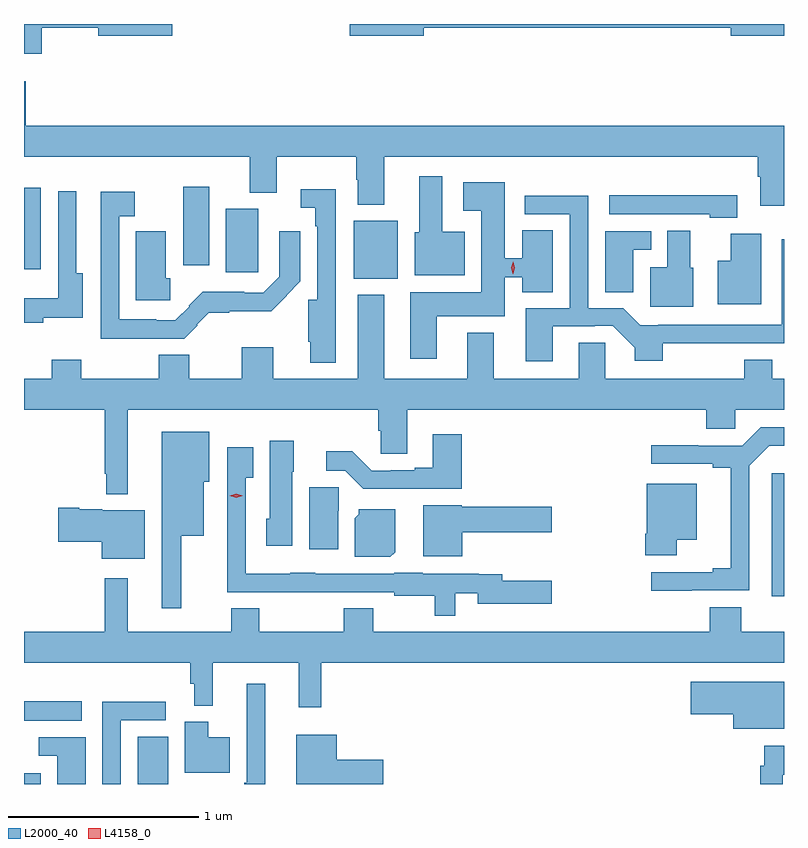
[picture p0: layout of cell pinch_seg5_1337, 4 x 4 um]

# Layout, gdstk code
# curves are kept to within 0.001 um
import gdstk
lib = gdstk.Library(unit=1e-6, precision=1e-09)
def R(c, l, rs):  # rectangles x0, y0, x1, y1
    for r in rs: c.add(gdstk.rectangle(r[:2], r[2:], *l))
def P(c, l, *ps):  # polygons
    for p in ps: c.add(gdstk.Polygon(p, *l))
L2000_40 = (2000, 40)
L4158_0 = (4158, 0)

pinch_seg5_1337 = lib.new_cell('pinch_seg5_1337')
R(pinch_seg5_1337, L2000_40, [(262.189,885.427,262.276,885.484), (262.787,885.427,262.948,885.677), (262.189,885.761,262.492,885.862), (266.124,886.416,266.189,887.063), (263.924,888.086,264.157,888.391), (263.252,888.12,263.422,888.454), (262.189,888.135,262.276,888.565), (263.027,888.156,263.164,888.571)])
P(pinch_seg5_1337, L2000_40, [(262.282,889.408),(262.58,889.408),(262.58,889.366),(262.969,889.366),(262.969,889.427),(262.189,889.427),(262.189,889.271),(262.282,889.271)],
  [(264.292,889.408),(265.91,889.408),(265.91,889.366),(266.189,889.366),(266.189,889.427),(263.904,889.427),(263.904,889.366),(264.292,889.366)],
  [(266.189,888.892),(262.199,888.892),(262.199,889.126),(262.189,889.126),(262.189,888.728),(263.378,888.728),(263.378,888.539),(263.518,888.539),(263.518,888.728),(263.938,888.728),(263.938,888.608),(263.945,888.608),(263.945,888.476),(264.085,888.476),(264.085,888.728),(266.051,888.728),(266.051,888.622),(266.063,888.622),(266.063,888.471),(266.189,888.471)],
  [(264.508,888.334),(264.391,888.334),(264.391,888.625),(264.269,888.625),(264.269,888.33),(264.245,888.33),(264.245,888.104),(264.508,888.104)],
  [(264.361,887.888),(264.718,887.888),(264.718,888.095),(264.812,888.095),(264.812,888.016),(264.973,888.016),(264.973,888.341),(264.812,888.341),(264.812,888.195),(264.718,888.195),(264.718,888.595),(264.501,888.595),(264.501,888.443),(264.596,888.443),(264.596,888.016),(264.221,888.016),(264.221,887.664),(264.361,887.664)],
  [(263.83,887.873),(263.829,887.873),(263.829,888.556),(263.646,888.556),(263.646,888.459),(263.721,888.459),(263.721,888.362),(263.733,888.362),(263.733,887.976),(263.684,887.976),(263.684,887.755),(263.696,887.755),(263.696,887.645),(263.83,887.645)],
  [(262.29,887.882),(262.498,887.882),(262.498,888.115),(262.464,888.115),(262.464,888.547),(262.368,888.547),(262.368,887.983),(262.189,887.983),(262.189,887.854),(262.29,887.854)],
  [(263.103,887.841),(263.099,887.845),(263.161,887.907),(263.269,887.907),(263.269,887.915),(263.489,887.915),(263.644,888.072),(263.644,888.337),(263.532,888.337),(263.532,888.096),(263.448,888.012),(263.348,888.012),(263.348,888.017),(263.129,888.017),(263.055,887.943),(263.058,887.94),(262.986,887.868),(262.886,887.868),(262.886,887.872),(262.689,887.872),(262.689,888.416),(262.772,888.416),(262.772,888.544),(262.593,888.544),(262.593,887.771),(263.033,887.771)],
  [(265.942,888.526),(265.269,888.526),(265.269,888.425),(265.797,888.425),(265.797,888.407),(265.942,888.407)],
  [(264.973,887.835),(265.193,887.835),(265.193,887.838),(265.287,887.838),(265.403,887.722),(265.403,887.654),(265.551,887.654),(265.551,887.747),(266.189,887.748),(266.189,888.295),(266.178,888.295),(266.177,887.844),(265.528,887.844),(265.528,887.841),(265.432,887.841),(265.342,887.931),(265.158,887.931),(265.158,888.524),(264.825,888.524),(264.825,888.426),(265.062,888.426),(265.062,887.931),(264.83,887.931),(264.83,887.652),(264.973,887.652)],
  [(265.711,888.144),(265.696,888.144),(265.696,888.34),(265.574,888.34),(265.574,888.148),(265.484,888.148),(265.484,887.939),(265.711,887.939)],
  [(265.396,888.24),(265.489,888.24),(265.489,888.336),(265.247,888.336),(265.247,888.016),(265.396,888.016)],
  [(262.959,888.09),(262.936,888.09),(262.936,888.335),(262.778,888.335),(262.778,887.973),(262.959,887.973)],
  [(266.068,888.322),(265.91,888.322),(265.91,888.181),(265.841,888.181),(265.841,887.951),(266.068,887.951)],
  [(265.981,887.659),(265.981,887.56),(265.248,887.56),(265.248,887.75),(265.109,887.75),(265.109,887.56),(264.661,887.56),(264.661,887.803),(264.521,887.803),(264.521,887.56),(264.085,887.56),(264.085,888.001),(263.945,888.001),(263.945,887.56),(263.5,887.56),(263.5,887.725),(263.336,887.725),(263.336,887.56),(263.059,887.56),(263.059,887.686),(262.898,887.686),(262.898,887.56),(262.491,887.56),(262.491,887.659),(262.336,887.659),(262.336,887.56),(262.189,887.56),(262.189,887.396),(262.614,887.396),(262.614,887.059),(262.621,887.059),(262.621,886.952),(262.735,886.952),(262.735,887.396),(264.053,887.396),(264.053,887.286),(264.066,887.286),(264.066,887.164),(264.205,887.164),(264.205,887.396),(265.781,887.396),(265.781,887.298),(265.932,887.298),(265.932,887.396),(266.189,887.396),(266.189,887.56),(266.128,887.56),(266.128,887.659)],
  [(265.703,886.446),(266.007,886.446),(266.007,887.103),(266.111,887.207),(266.189,887.207),(266.189,887.304),(266.066,887.304),(265.97,887.208),(265.737,887.208),(265.737,887.21),(265.491,887.21),(265.491,887.112),(265.814,887.112),(265.814,887.092),(265.91,887.092),(265.91,886.562),(265.814,886.562),(265.814,886.542),(265.491,886.542),(265.491,886.445)],
  [(263.017,886.733),(263.134,886.733),(263.134,887.018),(263.164,887.018),(263.164,887.281),(262.913,887.281),(262.913,886.353),(263.017,886.353)],
  [(264.494,887.269),(264.341,887.269),(264.341,887.092),(264.245,887.092),(264.245,887.079),(264.118,887.079),(264.118,887.076),(264.018,887.076),(263.916,887.179),(263.781,887.179),(263.781,887.076),(263.88,887.076),(263.974,886.982),(264.494,886.982)],
  [(263.602,887.07),(263.608,887.07),(263.608,887.233),(263.483,887.233),(263.483,886.824),(263.465,886.824),(263.465,886.68),(263.602,886.68)],
  [(264.459,886.43),(264.578,886.43),(264.578,886.376),(264.967,886.376),(264.967,886.498),(264.706,886.498),(264.706,886.53),(264.582,886.53),(264.582,886.534),(264.288,886.534),(264.288,886.54),(264.138,886.54),(264.138,886.533),(263.721,886.533),(263.721,886.54),(263.589,886.54),(263.589,886.534),(263.355,886.534),(263.355,887.039),(263.395,887.039),(263.395,887.2),(263.259,887.2),(263.259,886.437),(263.489,886.437),(263.489,886.436),(263.721,886.436),(263.721,886.437),(264.138,886.437),(264.138,886.418),(264.351,886.418),(264.351,886.313),(264.459,886.313)],
  [(265.624,886.712),(265.729,886.712),(265.729,887.008),(265.466,887.008),(265.466,886.744),(265.459,886.744),(265.459,886.632),(265.624,886.632)],
  [(263.842,886.866),(263.846,886.866),(263.846,886.989),(263.69,886.989),(263.69,886.662),(263.842,886.662)],
  [(264.496,886.751),(264.967,886.751),(264.967,886.886),(264.492,886.886),(264.492,886.894),(264.29,886.894),(264.29,886.625),(264.496,886.625)],
  [(262.825,886.867),(262.602,886.867),(262.602,886.873),(262.48,886.873),(262.48,886.88),(262.368,886.88),(262.368,886.702),(262.598,886.702),(262.598,886.613),(262.825,886.613)],
  [(264.142,886.648),(264.142,886.873),(263.952,886.873),(263.952,886.848),(263.93,886.826),(263.93,886.622),(264.116,886.622)],
  [(263.753,886.064),(266.189,886.064),(266.189,886.228),(265.963,886.228),(265.963,886.357),(265.799,886.357),(265.799,886.228),(264.027,886.228),(264.027,886.352),(263.872,886.352),(263.872,886.228),(263.427,886.228),(263.427,886.352),(263.279,886.352),(263.279,886.228),(262.735,886.228),(262.735,886.51),(262.614,886.51),(262.614,886.228),(262.189,886.228),(262.189,886.064),(263.065,886.064),(263.065,885.955),(263.084,885.955),(263.084,885.839),(263.183,885.839),(263.183,886.064),(263.636,886.064),(263.636,885.831),(263.753,885.831)],
  [(266.189,885.964),(265.698,885.964),(265.698,885.794),(265.922,885.794),(265.922,885.719),(266.189,885.719)],
  [(263.458,885.955),(263.361,885.955),(263.361,885.433),(263.349,885.433),(263.349,885.427),(263.458,885.427)],
  [(262.698,885.762),(262.936,885.762),(262.936,885.86),(262.602,885.86),(262.602,885.427),(262.698,885.427)],
  [(263.272,885.673),(263.158,885.673),(263.158,885.754),(263.036,885.754),(263.036,885.485),(263.272,885.485)],
  [(264.079,885.554),(263.836,885.554),(263.836,885.685),(263.621,885.685),(263.621,885.427),(264.079,885.427)],
  [(262.513,885.672),(262.266,885.672),(262.266,885.576),(262.364,885.576),(262.364,885.427),(262.513,885.427)],
  [(266.183,885.476),(266.189,885.476),(266.189,885.628),(266.085,885.628),(266.085,885.524),(266.065,885.524),(266.065,885.427),(266.183,885.427)])
P(pinch_seg5_1337, L4158_0, [(264.762,888.113),(264.762,888.113),(264.753,888.144),(264.763,888.175),(264.763,888.176),(264.763,888.175),(264.773,888.144),(264.763,888.113)],
  [(263.306,886.934),(263.271,886.944),(263.271,886.944),(263.271,886.944),(263.306,886.954),(263.341,886.944),(263.341,886.944),(263.341,886.944)])

lib.write_gds('pinch_seg5_1337.gds')
